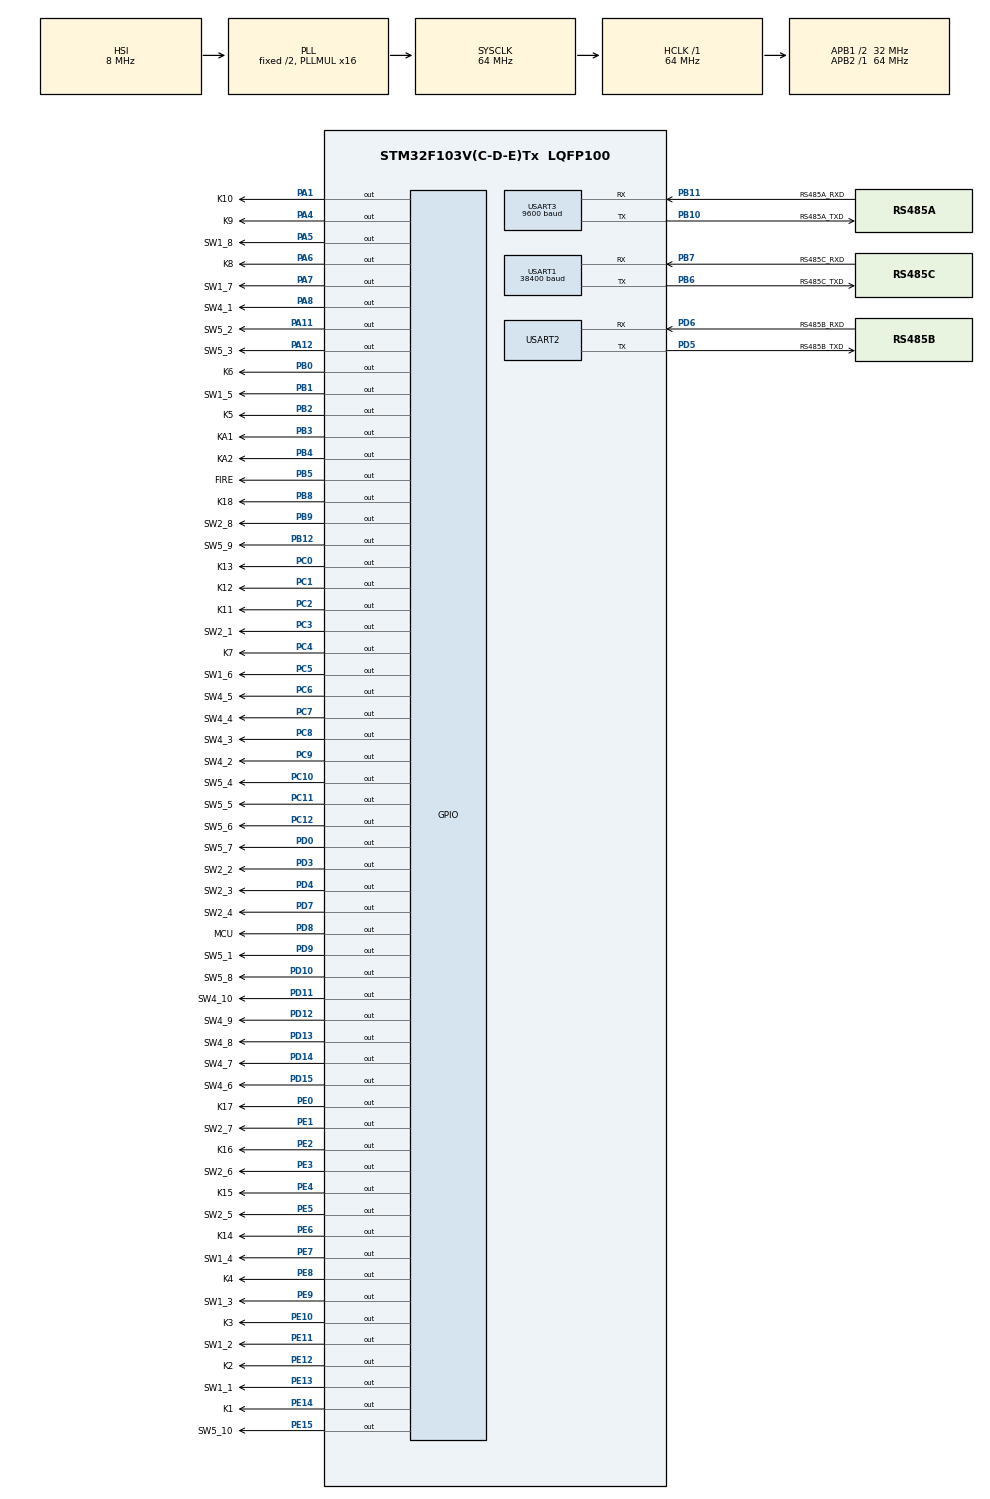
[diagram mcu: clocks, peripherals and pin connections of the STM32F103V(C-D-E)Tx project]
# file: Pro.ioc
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Dma.Request0=USART3_RX
Dma.Request1=USART2_RX
Dma.USART2_RX.1.Direction=DMA_PERIPH_TO_MEMORY
Dma.USART2_RX.1.Instance=DMA1_Channel6
Dma.USART2_RX.1.MemDataAlignment=DMA_MDATAALIGN_BYTE
Dma.USART2_RX.1.MemInc=DMA_MINC_ENABLE
Dma.USART2_RX.1.Mode=DMA_CIRCULAR
Dma.USART2_RX.1.PeriphDataAlignment=DMA_PDATAALIGN_BYTE
Dma.USART2_RX.1.PeriphInc=DMA_PINC_DISABLE
Dma.USART2_RX.1.Priority=DMA_PRIORITY_LOW
Dma.USART3_RX.0.Direction=DMA_PERIPH_TO_MEMORY
Dma.USART3_RX.0.Instance=DMA1_Channel3
Dma.USART3_RX.0.MemDataAlignment=DMA_MDATAALIGN_BYTE
Dma.USART3_RX.0.MemInc=DMA_MINC_ENABLE
Dma.USART3_RX.0.Mode=DMA_CIRCULAR
Dma.USART3_RX.0.PeriphDataAlignment=DMA_PDATAALIGN_BYTE
Dma.USART3_RX.0.PeriphInc=DMA_PINC_DISABLE
Dma.USART3_RX.0.Priority=DMA_PRIORITY_LOW
Mcu.Family=STM32F1
Mcu.Name=STM32F103V(C-D-E)Tx
Mcu.Package=LQFP100
NVIC.DMA1_Channel3_IRQn=true\:0\:0\:false\:true\:true\:7\:false
NVIC.DMA1_Channel6_IRQn=true\:0\:0\:false\:true\:true\:8\:false
NVIC.PriorityGroup=NVIC_PRIORITYGROUP_4
NVIC.TIM3_IRQn=true\:0\:0\:false\:true\:true\:5\:true
NVIC.TIM4_IRQn=true\:0\:0\:false\:true\:true\:6\:true
NVIC.TIM5_IRQn=true\:0\:0\:false\:true\:true\:4\:true
NVIC.USART1_IRQn=true\:0\:0\:false\:true\:true\:1\:true
NVIC.USART2_IRQn=true\:0\:0\:false\:true\:true\:2\:true
NVIC.USART3_IRQn=true\:0\:0\:false\:true\:true\:3\:true
PA1.GPIO_Label=K10
PA1.Signal=GPIO_Output
PA11.GPIO_Label=SW5_2
PA11.PinState=GPIO_PIN_SET
PA11.Signal=GPIO_Output
PA12.GPIO_Label=SW5_3
PA12.PinState=GPIO_PIN_SET
PA12.Signal=GPIO_Output
PA13.Mode=Serial_Wire
PA13.Signal=SYS_JTMS-SWDIO
PA14.Mode=Serial_Wire
PA14.Signal=SYS_JTCK-SWCLK
PA4.GPIO_Label=K9
PA4.Signal=GPIO_Output
PA5.GPIO_Label=SW1_8
PA5.PinState=GPIO_PIN_SET
PA5.Signal=GPIO_Output
PA6.GPIO_Label=K8
PA6.Signal=GPIO_Output
PA7.GPIO_Label=SW1_7
PA7.PinState=GPIO_PIN_SET
PA7.Signal=GPIO_Output
PA8.GPIO_Label=SW4_1
PA8.PinState=GPIO_PIN_SET
PA8.Signal=GPIO_Output
PB0.GPIO_Label=K6
PB0.Signal=GPIO_Output
PB1.GPIO_Label=SW1_5
PB1.PinState=GPIO_PIN_SET
PB1.Signal=GPIO_Output
PB10.GPIO_Label=RS485A_TXD
PB10.Mode=Asynchronous
PB10.Signal=USART3_TX
PB11.GPIO_Label=RS485A_RXD
PB11.Mode=Asynchronous
PB11.Signal=USART3_RX
PB12.GPIO_Label=SW5_9
PB12.PinState=GPIO_PIN_SET
PB12.Signal=GPIO_Output
PB13.GPIO_Label=SPI_SCK
PB13.Signal=SPI2_SCK
PB14.GPIO_Label=SPI_MISO
PB14.Signal=SPI2_MISO
PB15.GPIO_Label=SPI_MOSI
PB15.Signal=SPI2_MOSI
PB2.GPIO_Label=K5
PB2.Signal=GPIO_Output
PB3.GPIO_Label=KA1
PB3.Signal=GPIO_Output
PB4.GPIO_Label=KA2
PB4.Signal=GPIO_Output
PB5.GPIO_Label=FIRE
PB5.PinState=GPIO_PIN_SET
PB5.Signal=GPIO_Output
PB6.GPIO_Label=RS485C_TXD
PB6.Mode=Asynchronous
PB6.Signal=USART1_TX
PB7.GPIO_Label=RS485C_RXD
PB7.Mode=Asynchronous
PB7.Signal=USART1_RX
PB8.GPIO_Label=K18
PB8.Signal=GPIO_Output
PB9.GPIO_Label=SW2_8
PB9.PinState=GPIO_PIN_SET
PB9.Signal=GPIO_Output
PC0.GPIO_Label=K13
PC0.Signal=GPIO_Output
PC1.GPIO_Label=K12
PC1.Signal=GPIO_Output
PC10.GPIO_Label=SW5_4
PC10.PinState=GPIO_PIN_SET
PC10.Signal=GPIO_Output
PC11.GPIO_Label=SW5_5
PC11.PinState=GPIO_PIN_SET
PC11.Signal=GPIO_Output
PC12.GPIO_Label=SW5_6
PC12.PinState=GPIO_PIN_SET
PC12.Signal=GPIO_Output
PC2.GPIO_Label=K11
PC2.Signal=GPIO_Output
PC3.GPIO_Label=SW2_1
PC3.PinState=GPIO_PIN_SET
PC3.Signal=GPIO_Output
PC4.GPIO_Label=K7
PC4.Signal=GPIO_Output
PC5.GPIO_Label=SW1_6
PC5.PinState=GPIO_PIN_SET
PC5.Signal=GPIO_Output
PC6.GPIO_Label=SW4_5
PC6.PinState=GPIO_PIN_SET
PC6.Signal=GPIO_Output
PC7.GPIO_Label=SW4_4
PC7.PinState=GPIO_PIN_SET
PC7.Signal=GPIO_Output
PC8.GPIO_Label=SW4_3
PC8.PinState=GPIO_PIN_SET
PC8.Signal=GPIO_Output
PC9.GPIO_Label=SW4_2
PC9.PinState=GPIO_PIN_SET
PC9.Signal=GPIO_Output
PD0.GPIO_Label=SW5_7
PD0.PinState=GPIO_PIN_SET
PD0.Signal=GPIO_Output
PD10.GPIO_Label=SW5_8
PD10.PinState=GPIO_PIN_SET
PD10.Signal=GPIO_Output
PD11.GPIO_Label=SW4_10
PD11.PinState=GPIO_PIN_SET
PD11.Signal=GPIO_Output
PD12.GPIO_Label=SW4_9
PD12.PinState=GPIO_PIN_SET
PD12.Signal=GPIO_Output
PD13.GPIO_Label=SW4_8
PD13.PinState=GPIO_PIN_SET
PD13.Signal=GPIO_Output
PD14.GPIO_Label=SW4_7
PD14.PinState=GPIO_PIN_SET
PD14.Signal=GPIO_Output
PD15.GPIO_Label=SW4_6
PD15.PinState=GPIO_PIN_SET
PD15.Signal=GPIO_Output
PD3.GPIO_Label=SW2_2
PD3.PinState=GPIO_PIN_SET
PD3.Signal=GPIO_Output
PD4.GPIO_Label=SW2_3
PD4.PinState=GPIO_PIN_SET
PD4.Signal=GPIO_Output
PD5.GPIO_Label=RS485B_TXD
PD5.Mode=Asynchronous
PD5.Signal=USART2_TX
PD6.GPIO_Label=RS485B_RXD
PD6.Mode=Asynchronous
PD6.Signal=USART2_RX
PD7.GPIO_Label=SW2_4
PD7.PinState=GPIO_PIN_SET
PD7.Signal=GPIO_Output
PD8.GPIO_Label=MCU
PD8.Signal=GPIO_Output
PD9.GPIO_Label=SW5_1
PD9.PinState=GPIO_PIN_SET
PD9.Signal=GPIO_Output
PE0.GPIO_Label=K17
PE0.Signal=GPIO_Output
PE1.GPIO_Label=SW2_7
PE1.PinState=GPIO_PIN_SET
PE1.Signal=GPIO_Output
PE10.GPIO_Label=K3
PE10.Signal=GPIO_Output
PE11.GPIO_Label=SW1_2
PE11.PinState=GPIO_PIN_SET
PE11.Signal=GPIO_Output
PE12.GPIO_Label=K2
PE12.Signal=GPIO_Output
PE13.GPIO_Label=SW1_1
PE13.PinState=GPIO_PIN_SET
PE13.Signal=GPIO_Output
PE14.GPIO_Label=K1
PE14.Signal=GPIO_Output
PE15.GPIO_Label=SW5_10
PE15.PinState=GPIO_PIN_SET
PE15.Signal=GPIO_Output
PE2.GPIO_Label=K16
PE2.Signal=GPIO_Output
PE3.GPIO_Label=SW2_6
PE3.PinState=GPIO_PIN_SET
PE3.Signal=GPIO_Output
PE4.GPIO_Label=K15
PE4.Signal=GPIO_Output
PE5.GPIO_Label=SW2_5
PE5.PinState=GPIO_PIN_SET
PE5.Signal=GPIO_Output
PE6.GPIO_Label=K14
PE6.Signal=GPIO_Output
PE7.GPIO_Label=SW1_4
PE7.PinState=GPIO_PIN_SET
PE7.Signal=GPIO_Output
PE8.GPIO_Label=K4
PE8.Signal=GPIO_Output
PE9.GPIO_Label=SW1_3
PE9.PinState=GPIO_PIN_SET
PE9.Signal=GPIO_Output
ProjectManager.HeapSize=0x200
ProjectManager.StackSize=0x400
ProjectManager.TargetToolchain=MDK-ARM V5
RCC.AHBFreq_Value=64000000
RCC.APB1CLKDivider=RCC_HCLK_DIV2
RCC.APB1Freq_Value=32000000
RCC.APB1TimFreq_Value=64000000
RCC.APB2Freq_Value=64000000
RCC.APB2TimFreq_Value=64000000
RCC.HCLKFreq_Value=64000000
RCC.PLLMUL=RCC_PLL_MUL16
RCC.SYSCLKFreq_VALUE=64000000
RCC.SYSCLKSource=RCC_SYSCLKSOURCE_PLLCLK
RCC.USBFreq_Value=64000000
TIM3.AutoReloadPreload=TIM_AUTORELOAD_PRELOAD_ENABLE
TIM3.Period=1000-1
TIM3.Prescaler=640-1
TIM4.AutoReloadPreload=TIM_AUTORELOAD_PRELOAD_ENABLE
TIM4.Period=4000-1
TIM4.Prescaler=640-1
TIM5.AutoReloadPreload=TIM_AUTORELOAD_PRELOAD_ENABLE
USART1.BaudRate=38400
USART1.VirtualMode=VM_ASYNC
USART2.VirtualMode=VM_ASYNC
USART3.BaudRate=9600
USART3.VirtualMode=VM_ASYNC
VP_TIM3_VS_ClockSourceINT.Mode=Internal
VP_TIM4_VS_ClockSourceINT.Mode=Internal
VP_TIM5_VS_ClockSourceINT.Mode=Internal
board=Pro

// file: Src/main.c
/**
  ******************************************************************************
  * @file           : main.c
  * @brief          : Main program body
  ******************************************************************************
  ** This notice applies to any and all portions of this file
  * that are not between comment pairs USER CODE BEGIN and
  * USER CODE END. Other portions of this file, whether
  * inserted by the user or by software development tools
  * are owned by their respective copyright owners.
  *
  * COPYRIGHT(c) 2018 STMicroelectronics
  *
  * Redistribution and use in source and binary forms, with or without modification,
  * are permitted provided that the following conditions are met:
  *   1. Redistributions of source code must retain the above copyright notice,
  *      this list of conditions and the following disclaimer.
  *   2. Redistributions in binary form must reproduce the above copyright notice,
  *      this list of conditions and the following disclaimer in the documentation
  *      and/or other materials provided with the distribution.
  *   3. Neither the name of STMicroelectronics nor the names of its contributors
  *      may be used to endorse or promote products derived from this software
  *      without specific prior written permission.
  *
  * THIS SOFTWARE IS PROVIDED BY THE COPYRIGHT HOLDERS AND CONTRIBUTORS "AS IS"
  * AND ANY EXPRESS OR IMPLIED WARRANTIES, INCLUDING, BUT NOT LIMITED TO, THE
  * IMPLIED WARRANTIES OF MERCHANTABILITY AND FITNESS FOR A PARTICULAR PURPOSE ARE
  * DISCLAIMED. IN NO EVENT SHALL THE COPYRIGHT HOLDER OR CONTRIBUTORS BE LIABLE
  * FOR ANY DIRECT, INDIRECT, INCIDENTAL, SPECIAL, EXEMPLARY, OR CONSEQUENTIAL
  * DAMAGES (INCLUDING, BUT NOT LIMITED TO, PROCUREMENT OF SUBSTITUTE GOODS OR
  * SERVICES; LOSS OF USE, DATA, OR PROFITS; OR BUSINESS INTERRUPTION) HOWEVER
  * CAUSED AND ON ANY THEORY OF LIABILITY, WHETHER IN CONTRACT, STRICT LIABILITY,
  * OR TORT (INCLUDING NEGLIGENCE OR OTHERWISE) ARISING IN ANY WAY OUT OF THE USE
  * OF THIS SOFTWARE, EVEN IF ADVISED OF THE POSSIBILITY OF SUCH DAMAGE.
  *
  ******************************************************************************
  */
#include "main.h"
#include "stm32f1xx_hal.h"
#include "dma.h"
#include "tim.h"
#include "usart.h"
#include "gpio.h"

/* USER CODE BEGIN Includes */
#include "bsp_rs485x.h"
#include "bsp_gpioControl.h"
#include "stdio.h"
#include "stm32Flash.h"
#include "string.h"

/* USER CODE END Includes */

/* USER CODE BEGIN PV */
/* Private variables ---------------------------------------------------------*/
#define DEBUG		1

#define ON_CNT		20
#define OFF_CNT		120
uint16_t gRunningLedFlag;
uint8_t gKA1Flag;
uint8_t gFlag;
uint8_t gFireTimeFlag = 1;
uint8_t gRS485BDelayCnt = 0;
uint8_t gNeedWriteFlashFlag = 0;
uint8_t gManuallyFireFlag = 0;
uint8_t gCodeFireFlag = 0;

/* USER CODE END PV */

void SystemClock_Config(void);
static void MX_NVIC_Init(void);

/* USER CODE BEGIN PFP */
/* Private function prototypes -----------------------------------------------*/
int fputc(int ch,FILE *f)
{
	uint8_t temp[1]= {ch};
	HAL_UART_Transmit(&huart1,temp,1,2);
	return ch;
}
/* USER CODE END PFP */

int main(void)
{
  /* USER CODE BEGIN 1 */
	FLASH_OBProgramInitTypeDef obData;
  /* USER CODE END 1 */

  /* MCU Configuration----------------------------------------------------------*/

  /* Reset of all peripherals, Initializes the Flash interface and the Systick. */
  HAL_Init();

  /* Configure the system clock */
  SystemClock_Config();

  /* Initialize all configured peripherals */
  MX_GPIO_Init();
  MX_DMA_Init();
  MX_USART2_UART_Init();
  MX_USART1_UART_Init();
  MX_USART3_UART_Init();
  MX_TIM3_Init();
  MX_TIM4_Init();
  MX_TIM5_Init();

  /* Initialize interrupts */
  MX_NVIC_Init();
  /* USER CODE BEGIN 2 */
	//MX_SWx_GPIO_Init(); //将拨码设置位输入模式，而且关闭上拉
	//MX_Kx_GPIO_Init(); //将K1-K15设置为输入模式，无上拉和下拉
	/* 读取掉电前获取的刷卡模式 */
	gNeedFlashCardFlag = HAL_FLASHEx_OBGetUserData(OB_DATA_ADDRESS_DATA0);
	if(gNeedFlashCardFlag > 1)
	{
		gNeedFlashCardFlag = 1;
    __disable_irq();
		HAL_FLASH_Unlock();
		HAL_FLASH_OB_Unlock();
		HAL_FLASHEx_OBGetConfig(&obData);
		HAL_FLASHEx_OBErase();
		obData.DATAAddress = OB_DATA_ADDRESS_DATA0;
		obData.DATAData = gNeedFlashCardFlag;
		obData.OptionType = OPTIONBYTE_DATA;
		HAL_FLASHEx_OBProgram(&obData);
		HAL_FLASH_OB_Lock();
		HAL_FLASH_Lock();
	}
	gNeedFlashCardFlag = HAL_FLASHEx_OBGetUserData(OB_DATA_ADDRESS_DATA0);
  __enable_irq();
  if(1 == gNeedFlashCardFlag)
  {
    HAL_GPIO_WritePin(GPIOD,GPIO_PIN_2,GPIO_PIN_SET);
  }
  else
  {
    HAL_GPIO_WritePin(GPIOD,GPIO_PIN_2,GPIO_PIN_RESET);
  }
#if 1 == DEBUG
	//printf("gNeedFlashCardFlag is %X \r\n",gNeedFlashCardFlag);
#endif
	bsp_RS485xVar_Init();
	bsp_RS485A_Init();
	bsp_RS485B_Init();
	bsp_RS485C_Init();
	bsp_gpioControl_Init();
	/* 开启定时器 */
	HAL_TIM_Base_Start_IT(&htim3);
	HAL_TIM_Base_Start_IT(&htim4);
	HAL_GPIO_WritePin(GPIOB,GPIO_PIN_3,GPIO_PIN_RESET);
	HAL_GPIO_WritePin(GPIOB,GPIO_PIN_4,GPIO_PIN_RESET);
//  HAL_Delay(10);
//  HAL_GPIO_WritePin(GPIOB,GPIO_PIN_4,GPIO_PIN_SET);
//  HAL_Delay(2000);
//  HAL_GPIO_WritePin(GPIOB,GPIO_PIN_4,GPIO_PIN_RESET);
  __disable_irq();
  gNeedFlashCardFlag = HAL_FLASHEx_OBGetUserData(OB_DATA_ADDRESS_DATA0);
  //printf(" the gNeedFlashCardFlag is %d\r\n ",gNeedFlashCardFlag);
  __enable_irq();

  /* USER CODE END 2 */

  /* Infinite loop */
  while (1)
  {

  /* USER CODE BEGIN 3 */
    /* 解析串口RS-485A的数据 */
    bsp_RS485A_PrashData();
    /* 解析串口RS-485B的数据 */
    bsp_RS485B_PrashData();
    /* 写入火警报警消息 */
    if(1 == gNeedWriteFlashFlag)
    {
      gNeedWriteFlashFlag = 0;
      //printf(" write flag to Flash\r\n");
       __disable_irq();
      HAL_FLASH_Unlock();
      HAL_FLASH_OB_Unlock();
      HAL_FLASHEx_OBGetConfig(&obData);
      HAL_FLASHEx_OBErase();
      obData.DATAAddress = OB_DATA_ADDRESS_DATA0;
      obData.DATAData = gNeedFlashCardFlag;
      obData.OptionType = OPTIONBYTE_DATA;
      HAL_FLASHEx_OBProgram(&obData);
      HAL_FLASH_OB_Lock();
      HAL_FLASH_Lock();
      __enable_irq();
    }

  }
  /* USER CODE END 3 */

}

void SystemClock_Config(void)
{

  RCC_OscInitTypeDef RCC_OscInitStruct;
  RCC_ClkInitTypeDef RCC_ClkInitStruct;

    /**Initializes the CPU, AHB and APB busses clocks
    */
  RCC_OscInitStruct.OscillatorType = RCC_OSCILLATORTYPE_HSI;
  RCC_OscInitStruct.HSIState = RCC_HSI_ON;
  RCC_OscInitStruct.HSICalibrationValue = 16;
  RCC_OscInitStruct.PLL.PLLState = RCC_PLL_ON;
  RCC_OscInitStruct.PLL.PLLSource = RCC_PLLSOURCE_HSI_DIV2;
  RCC_OscInitStruct.PLL.PLLMUL = RCC_PLL_MUL16;
  if (HAL_RCC_OscConfig(&RCC_OscInitStruct) != HAL_OK)
  {
    _Error_Handler(__FILE__, __LINE__);
  }

    /**Initializes the CPU, AHB and APB busses clocks
    */
  RCC_ClkInitStruct.ClockType = RCC_CLOCKTYPE_HCLK|RCC_CLOCKTYPE_SYSCLK
                              |RCC_CLOCKTYPE_PCLK1|RCC_CLOCKTYPE_PCLK2;
  RCC_ClkInitStruct.SYSCLKSource = RCC_SYSCLKSOURCE_PLLCLK;
  RCC_ClkInitStruct.AHBCLKDivider = RCC_SYSCLK_DIV1;
  RCC_ClkInitStruct.APB1CLKDivider = RCC_HCLK_DIV2;
  RCC_ClkInitStruct.APB2CLKDivider = RCC_HCLK_DIV1;

  if (HAL_RCC_ClockConfig(&RCC_ClkInitStruct, FLASH_LATENCY_2) != HAL_OK)
  {
    _Error_Handler(__FILE__, __LINE__);
  }

    /**Configure the Systick interrupt time
    */
  HAL_SYSTICK_Config(HAL_RCC_GetHCLKFreq()/1000);

    /**Configure the Systick
    */
  HAL_SYSTICK_CLKSourceConfig(SYSTICK_CLKSOURCE_HCLK);

  /* SysTick_IRQn interrupt configuration */
  HAL_NVIC_SetPriority(SysTick_IRQn, 0, 0);
}

/**
  * @brief NVIC Configuration.
  * @retval None
  */
static void MX_NVIC_Init(void)
{
  /* USART1_IRQn interrupt configuration */
  HAL_NVIC_SetPriority(USART1_IRQn, 0, 0);
  HAL_NVIC_EnableIRQ(USART1_IRQn);
  /* USART2_IRQn interrupt configuration */
  HAL_NVIC_SetPriority(USART2_IRQn, 0, 0);
  HAL_NVIC_EnableIRQ(USART2_IRQn);
  /* USART3_IRQn interrupt configuration */
  HAL_NVIC_SetPriority(USART3_IRQn, 0, 0);
  HAL_NVIC_EnableIRQ(USART3_IRQn);
  /* TIM5_IRQn interrupt configuration */
  HAL_NVIC_SetPriority(TIM5_IRQn, 0, 0);
  HAL_NVIC_EnableIRQ(TIM5_IRQn);
  /* TIM3_IRQn interrupt configuration */
  HAL_NVIC_SetPriority(TIM3_IRQn, 0, 0);
  HAL_NVIC_EnableIRQ(TIM3_IRQn);
  /* TIM4_IRQn interrupt configuration */
  HAL_NVIC_SetPriority(TIM4_IRQn, 0, 0);
  HAL_NVIC_EnableIRQ(TIM4_IRQn);
  /* DMA1_Channel3_IRQn interrupt configuration */
  HAL_NVIC_SetPriority(DMA1_Channel3_IRQn, 0, 0);
  HAL_NVIC_EnableIRQ(DMA1_Channel3_IRQn);
  /* DMA1_Channel6_IRQn interrupt configuration */
  HAL_NVIC_SetPriority(DMA1_Channel6_IRQn, 0, 0);
  HAL_NVIC_EnableIRQ(DMA1_Channel6_IRQn);
}

/* USER CODE BEGIN 4 */
/**
  * @brief  Period elapsed callback in non blocking mode
  * @param  htim : TIM handle
  * @retval None
  */
void HAL_TIM_PeriodElapsedCallback(TIM_HandleTypeDef *htim)
{
  /* Prevent unused argument(s) compilation warning */
  UNUSED(htim);
  /* NOTE : This function Should not be modified, when the callback is needed,
            the __HAL_TIM_PeriodElapsedCallback could be implemented in the user file
   */
	uint8_t i = 0;
	/* 10ms进入一次 */
	if(&htim3 == htim)
	{
    if(2 == gRevRS485BDelayFlag)
    {
      gRS485BDelayCnt++;
      if(gRS485BDelayCnt > 9)
      {
        gRS485BDelayCnt = 0;
        gRevRS485BDelayFlag = 0;
        for(i = 10; i < 18; i++)
        {
          gAckRS485CAskDataBuff[i] |= gRS485BData[i - 10];
        }
        for( i = 26; i < 34; i++)
        {
          gAckRS485CAskDataBuff[i] |= gRS485BData[i - 26];
        }
        gAutoRegisterFlag = 1;
        if(0 == gManuallyRegisterFlag || gClearTimeCnt < 70)
        {
          gClearTimeCnt = 80;
        }

        memset(gRS485BData,0x00,8);
      }
    }
		gRunningLedFlag++;
		if(gRunningLedFlag <= ON_CNT)
		{
			//点亮运行LED灯
			HAL_GPIO_WritePin(GPIOD,GPIO_PIN_8,GPIO_PIN_RESET);
		}
		else if(gRunningLedFlag > OFF_CNT)
		{
			gRunningLedFlag = 0;
		}
		else
		{
			//熄灭运行LED灯
			HAL_GPIO_WritePin(GPIOD,GPIO_PIN_8,GPIO_PIN_SET);
		}
		//printf("\r\n htim3 \r\n");
		if(gKA1Flag)
		{
			gKA1TimCnt--;
			if(gKA1TimCnt < 10)
			{
				gKA1TimCnt = 0;
				gKA1Flag = 0;
				/* 控制GPIO 开路继电器KA1 */
				HAL_GPIO_WritePin(KA1_GPIO_Port,KA1_Pin,GPIO_PIN_RESET);
			}
		}
		if(gRevRS485ADataFlag)
		{
			gClearTimeCnt--;
			/*
			gKA1TimCnt--;
			if(gKA1TimCnt < 10)
			{
				gKA1TimCnt = 5;
				// 控制GPIO 开路继电器KA1
				HAL_GPIO_WritePin(KA1_GPIO_Port,KA1_Pin,GPIO_PIN_RESET);
			}
		  */
			if(gClearTimeCnt < 3)
			{
				gRevRS485ADataFlag = 0;
				gClearTimeCnt = 0;
				gFlag = 0;
				gKA2ActionFlag = 0;
				HAL_GPIO_WritePin(KA2_GPIO_Port,KA2_Pin,GPIO_PIN_RESET);
        if(1 == gManuallyRegisterFlag)
        {
          bsp_ClearAllRegisterFloorInfo();//此函数中已经包含了对拨码的查询
          gManuallyRegisterFlag = 0;
        }
        if(1 == gAutoRegisterFlag)
        {
          bsp_CLearAutoRegisterFloorInfo();
          gAutoRegisterFlag = 0;
        }
				//bsp_gpioControlGetSW45Data();
#if 2==DEBUG
				printf("\r\n gRevRS485ADataFlag = 0\r\n");
#endif
			}
		}
	}
   /* 40ms */
	if(&htim4 == htim)
	{
		bsp_gpioControlGetSW45Data();

    gFireFlag = HAL_GPIO_ReadPin(GPIOB,GPIO_PIN_5);
    if(GPIO_PIN_RESET == gFireFlag)
    {
      HAL_GPIO_WritePin(GPIOD,GPIO_PIN_2,GPIO_PIN_SET);
      if(2 == gRS485CSendGateTypeFlag)
      {
        for(i = 2; i < 34; i++)
        {
          gAckRS485CAskDataBuff[i] = 0xFF;
        }
      }
      if(1 == gRS485CSendGateTypeFlag)
      {
        for(i = 2; i < 18; i ++)
        {
          gAckRS485CAskDataBuff[i] = 0xFF;
        }
      }
      if(0 == gRS485CSendGateTypeFlag)
      {
        for(i = 18; i < 34; i++)
        {
          gAckRS485CAskDataBuff[i] = 0xFF;
        }
      }
      bsp_CLearAutoRegisterFloorInfo();
      if(0 == gManuallyFireFlag)
      {
        gManuallyFireFlag = 1;
      }
    }
    else
    {
      if(0 == gNeedFlashCardFlag)
      {
        if(GPIO_PIN_RESET == HAL_GPIO_ReadPin(GPIOD,GPIO_PIN_4))
        {
          if(1 == gCodeFireFlag)
          {
            gCodeFireFlag = 0;
            gNeedWriteFlashFlag = 1;
            bsp_ClearAllRegisterFloorInfo();
            HAL_GPIO_WritePin(GPIOD,GPIO_PIN_2,GPIO_PIN_SET);
          }
        }
        else
        {
          if(0 == gCodeFireFlag)
          {
            gCodeFireFlag = 1;
            gNeedWriteFlashFlag = 1;
          }
          HAL_GPIO_WritePin(GPIOD,GPIO_PIN_2,GPIO_PIN_RESET);
          if(2 == gRS485CSendGateTypeFlag)
          {
            for(i = 2; i < 34; i++)
            {
              gAckRS485CAskDataBuff[i] = 0xFF;
            }
          }
          if(1 == gRS485CSendGateTypeFlag)
          {
            for(i = 2; i < 18; i ++)
            {
              gAckRS485CAskDataBuff[i] = 0xFF;
            }
          }
          if(0 == gRS485CSendGateTypeFlag)
          {
            for(i = 18; i < 34; i++)
            {
              gAckRS485CAskDataBuff[i] = 0xFF;
            }
          }
          bsp_CLearAutoRegisterFloorInfo();
        }
      }
      else
      {
         if(1 == gCodeFireFlag)
         {
           gCodeFireFlag = 0;
           gNeedWriteFlashFlag = 1;
           HAL_GPIO_WritePin(GPIOD,GPIO_PIN_2,GPIO_PIN_SET);
           bsp_ClearAllRegisterFloorInfo();
         }
      }
      if(1 == gManuallyFireFlag)
      {
        gManuallyFireFlag = 0;
        bsp_ClearAllRegisterFloorInfo();
      }
    }
	}
}
/* USER CODE END 4 */

void _Error_Handler(char *file, int line)
{
  while(1)
  {
  }
}

/************************ (C) COPYRIGHT STMicroelectronics *****END OF FILE****/
